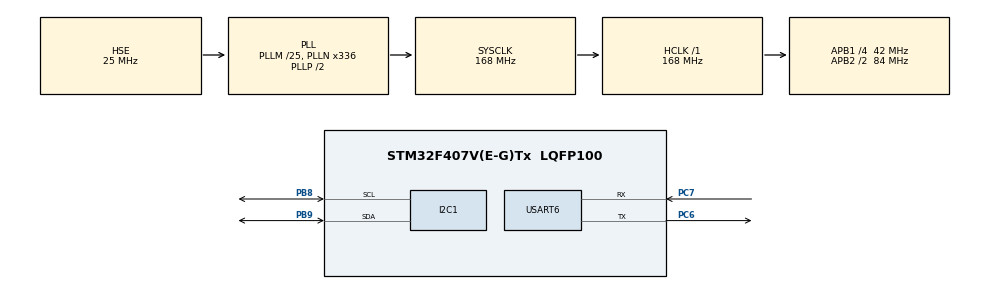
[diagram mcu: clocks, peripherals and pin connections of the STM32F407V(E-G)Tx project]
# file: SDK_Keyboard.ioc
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Mcu.Family=STM32F4
Mcu.Name=STM32F407V(E-G)Tx
Mcu.Package=LQFP100
NVIC.PriorityGroup=NVIC_PRIORITYGROUP_4
PA13.Mode=JTAG_5_pins
PA13.Signal=SYS_JTMS-SWDIO
PA14.Mode=JTAG_5_pins
PA14.Signal=SYS_JTCK-SWCLK
PA15.Mode=JTAG_5_pins
PA15.Signal=SYS_JTDI
PB3.Mode=JTAG_5_pins
PB3.Signal=SYS_JTDO-SWO
PB4.Mode=JTAG_5_pins
PB4.Signal=SYS_JTRST
PB8.GPIO_Pu=GPIO_PULLUP
PB8.Mode=I2C
PB8.Signal=I2C1_SCL
PB9.GPIO_Pu=GPIO_PULLUP
PB9.Mode=I2C
PB9.Signal=I2C1_SDA
PC6.Mode=Asynchronous
PC6.Signal=USART6_TX
PC7.Mode=Asynchronous
PC7.Signal=USART6_RX
PH0-OSC_IN.Mode=HSE-External-Oscillator
PH0-OSC_IN.Signal=RCC_OSC_IN
PH1-OSC_OUT.Mode=HSE-External-Oscillator
PH1-OSC_OUT.Signal=RCC_OSC_OUT
ProjectManager.HeapSize=0x200
ProjectManager.StackSize=0x400
ProjectManager.TargetToolchain=STM32CubeIDE
RCC.48MHZClocksFreq_Value=84000000
RCC.AHBFreq_Value=168000000
RCC.APB1CLKDivider=RCC_HCLK_DIV4
RCC.APB1Freq_Value=42000000
RCC.APB1TimFreq_Value=84000000
RCC.APB2CLKDivider=RCC_HCLK_DIV2
RCC.APB2Freq_Value=84000000
RCC.APB2TimFreq_Value=168000000
RCC.CortexFreq_Value=168000000
RCC.HCLKFreq_Value=168000000
RCC.HSE_VALUE=25000000
RCC.HSI_VALUE=16000000
RCC.LSE_VALUE=32768
RCC.PLLM=25
RCC.PLLN=336
RCC.PLLSourceVirtual=RCC_PLLSOURCE_HSE
RCC.SYSCLKFreq_VALUE=168000000
RCC.SYSCLKSource=RCC_SYSCLKSOURCE_PLLCLK
RCC.VCOOutputFreq_Value=336000000
USART6.VirtualMode=VM_ASYNC
board=custom

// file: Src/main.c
/* USER CODE BEGIN Header */
/**
  ******************************************************************************
  * @file           : main.c
  * @brief          : Main program body
  ******************************************************************************
  * @attention
  *
  * <h2><center>&copy; Copyright (c) 2019 STMicroelectronics.
  * All rights reserved.</center></h2>
  *
  * This software component is licensed by ST under BSD 3-Clause license,
  * the "License"; You may not use this file except in compliance with the
  * License. You may obtain a copy of the License at:
  *                        opensource.org/licenses/BSD-3-Clause
  *
  ******************************************************************************
  */
/* USER CODE END Header */

#include "main.h"
#include "i2c.h"
#include "usart.h"
#include "gpio.h"

/* USER CODE BEGIN Includes */
#include "kb.h"
#include "sdk_uart.h"
#include "pca9538.h"
#include "oled.h"
#include "fonts.h"
/* USER CODE END Includes */

/* USER CODE BEGIN PV */
uint32_t num1 = 0;
uint32_t num2 = 0;
int64_t result = 0;
uint8_t operation = 0;
uint8_t step = 0;

char num1_buf[11];  // 10 цифр максимум + '\0'
char num2_buf[11];
char result_buf[21];
/* USER CODE END PV */

void SystemClock_Config(void);
/* USER CODE BEGIN PFP */
void KB_Test( void );
void OLED_KB( uint8_t OLED_Keys[]);
void oled_Reset( void );
/* USER CODE END PFP */

int main(void)
{

  /* MCU Configuration--------------------------------------------------------*/

  /* Reset of all peripherals, Initializes the Flash interface and the Systick. */
  HAL_Init();

  /* Configure the system clock */
  SystemClock_Config();

  /* Initialize all configured peripherals */
  MX_GPIO_Init();
  MX_I2C1_Init();
  MX_USART6_UART_Init();
  /* USER CODE BEGIN 2 */
  oled_Init();

  /* USER CODE END 2 */

  /* Infinite loop */
  while (1)
  {

    /* USER CODE BEGIN 3 */
	  KB_Test();
//	  HAL_Delay(500);

  }
  /* USER CODE END 3 */
}

void SystemClock_Config(void)
{
  RCC_OscInitTypeDef RCC_OscInitStruct = {0};
  RCC_ClkInitTypeDef RCC_ClkInitStruct = {0};

  /** Configure the main internal regulator output voltage
  */
  __HAL_RCC_PWR_CLK_ENABLE();
  __HAL_PWR_VOLTAGESCALING_CONFIG(PWR_REGULATOR_VOLTAGE_SCALE1);
  /** Initializes the CPU, AHB and APB busses clocks
  */
  RCC_OscInitStruct.OscillatorType = RCC_OSCILLATORTYPE_HSE;
  RCC_OscInitStruct.HSEState = RCC_HSE_ON;
  RCC_OscInitStruct.PLL.PLLState = RCC_PLL_ON;
  RCC_OscInitStruct.PLL.PLLSource = RCC_PLLSOURCE_HSE;
  RCC_OscInitStruct.PLL.PLLM = 25;
  RCC_OscInitStruct.PLL.PLLN = 336;
  RCC_OscInitStruct.PLL.PLLP = RCC_PLLP_DIV2;
  RCC_OscInitStruct.PLL.PLLQ = 4;
  if (HAL_RCC_OscConfig(&RCC_OscInitStruct) != HAL_OK)
  {
    Error_Handler();
  }
  /** Initializes the CPU, AHB and APB busses clocks
  */
  RCC_ClkInitStruct.ClockType = RCC_CLOCKTYPE_HCLK|RCC_CLOCKTYPE_SYSCLK
                              |RCC_CLOCKTYPE_PCLK1|RCC_CLOCKTYPE_PCLK2;
  RCC_ClkInitStruct.SYSCLKSource = RCC_SYSCLKSOURCE_PLLCLK;
  RCC_ClkInitStruct.AHBCLKDivider = RCC_SYSCLK_DIV1;
  RCC_ClkInitStruct.APB1CLKDivider = RCC_HCLK_DIV4;
  RCC_ClkInitStruct.APB2CLKDivider = RCC_HCLK_DIV2;

  if (HAL_RCC_ClockConfig(&RCC_ClkInitStruct, FLASH_LATENCY_5) != HAL_OK)
  {
    Error_Handler();
  }
}

/* USER CODE BEGIN 4 */

static void u32_to_str(uint32_t v, char *buf) {
    char tmp[10];
    int i = 0;
    if (v == 0) { buf[0]='0'; buf[1]='\0'; return; }
    while (v) { tmp[i++] = '0' + (v % 10); v /= 10; }
    int j = 0;
    while (i) buf[j++] = tmp[--i];
    buf[j] = '\0';
}

static void i64_to_str(int64_t v, char *buf) {
    char tmp[20];
    int i = 0;
    int neg = (v < 0);
    uint64_t u = neg ? -(uint64_t)v : (uint64_t)v;
    if (u == 0) { buf[0]='0'; buf[1]='\0'; return; }
    while (u) { tmp[i++] = '0' + (u % 10); u /= 10; }
    int j = 0;
    if (neg) buf[j++] = '-';
    while (i) buf[j++] = tmp[--i];
    buf[j] = '\0';
}

void KB_Test( void ) {
//	UART_Transmit( (uint8_t*)"KB test start\n" );
	uint8_t flag = 0, Row[4] = {ROW4, ROW3, ROW2, ROW1}, Key, OldKey, OLED_Keys[12] = {0x30,0x30,0x30,0x30,0x30,0x30,0x30,0x30,0x30,0x30,0x30,0x30};
	oled_Reset();
	oled_SetCursor(0, 0);

	u32_to_str(num1, num1_buf);
	u32_to_str(num2, num2_buf);
	i64_to_str(result, result_buf);

	oled_WriteString(num1_buf, Font_7x10, White);
	oled_SetCursor(0, 10);
	switch (operation) {
	    case 0: oled_WriteString("+", Font_7x10, White); break;
	    case 1: oled_WriteString("-", Font_7x10, White); break;
	    case 2: oled_WriteString("*", Font_7x10, White); break;
	}
	oled_SetCursor(0, 20);
	oled_WriteString(num2_buf, Font_7x10, White);
	oled_SetCursor(0, 30);
	oled_WriteString(result_buf, Font_7x10, White);
	oled_UpdateScreen();
	while (flag == 0) {
	for ( int i = 0; i < 4; i++ ) {
//		while( !( R && C && L ) ) {
//			OldKey = Key;
//			Key = Check_Row( Row[i] );
//			if ( Key == 0x01 && Key != OldKey) {
//				UART_Transmit( (uint8_t*)"Right pressed\n" );
//				R = 1;
//				OLED_Keys[2+3*i] = 0x31;
//				OLED_KB(OLED_Keys);
//			} else if ( Key == 0x02 && Key != OldKey) {
//				UART_Transmit( (uint8_t*)"Center pressed\n" );
//				C = 1;
//				OLED_Keys[1+3*i] = 0x31;
//				OLED_KB(OLED_Keys);
//			} else if ( Key == 0x04 && Key != OldKey) {
//				UART_Transmit( (uint8_t*)"Left pressed\n" );
//				L = 1;
//				OLED_Keys[3*i] = 0x31;
//				OLED_KB(OLED_Keys);
//			}
//		}

		OldKey = Key;
		Key = Check_Row( Row[i] );
		if (Key != 0x00 && flag == 0) {
			flag = 1;
		}
		if ( Key == 0x01 && i == 1) {
			UART_Transmit( (uint8_t*)"9 pressed\n" );
			if (step == 0) {
				num1 = (num1 * 10 + 9) % 100000000;
			}
			else if (step == 2) {
				num2 = (num2 * 10 + 9) % 100000000;
			}

		}
		else if ( Key == 0x02 && i == 1) {
			UART_Transmit( (uint8_t*)"8 pressed\n" );
			if (step == 0) {
				num1 = (num1 * 10 + 8) % 100000000;
			}
			else if (step == 2) {
				num2 = (num2 * 10 + 8) % 100000000;
			}
		}
		else if ( Key == 0x04 && i == 1) {
			UART_Transmit( (uint8_t*)"7 pressed\n" );
			if (step == 0) {
				num1 = (num1 * 10 + 7) % 100000000;
			}
			else if (step == 2) {
				num2 = (num2 * 10 + 7) % 100000000;
			}
		}
		else if ( Key == 0x01 && i == 2) {
			UART_Transmit( (uint8_t*)"6 pressed\n" );
			if (step == 0) {
				num1 = (num1 * 10 + 6) % 100000000;
			}
			else if (step == 2) {
				num2 = (num2 * 10 + 6) % 100000000;
			}
		}
		else if ( Key == 0x02 && i == 2) {
			UART_Transmit( (uint8_t*)"5 pressed\n" );
			if (step == 0) {
				num1 = (num1 * 10 + 5) % 100000000;
			}
			else if (step == 2) {
				num2 = (num2 * 10 + 5) % 100000000;
			}
		}
		else if ( Key == 0x04 && i == 2) {
			UART_Transmit( (uint8_t*)"4 pressed\n" );
			if (step == 0) {
				num1 = (num1 * 10 + 4) % 100000000;
			}
			else if (step == 2) {
				num2 = (num2 * 10 + 4) % 100000000;
			}
		}
		else if ( Key == 0x01 && i == 3) {
			UART_Transmit( (uint8_t*)"3 pressed\n" );
			if (step == 0) {
				num1 = (num1 * 10 + 3) % 100000000;
			}
			else if (step == 2) {
				num2 = (num2 * 10 + 3) % 100000000;
			}
		}
		else if ( Key == 0x02 && i == 3) {
			UART_Transmit( (uint8_t*)"2 pressed\n" );
			if (step == 0) {
				num1 = (num1 * 10 + 2) % 100000000;
			}
			else if (step == 2) {
				num2 = (num2 * 10 + 2) % 100000000;
			}
		}
		else if ( Key == 0x04 && i == 3) {
			UART_Transmit( (uint8_t*)"1 pressed\n" );
			if (step == 0) {
				num1 = (num1 * 10 + 1) % 100000000;
			}
			else if (step == 2) {
				num2 = (num2 * 10 + 1) % 100000000;
			}
		}
		else if ( Key == 0x02 && i == 0) {
			UART_Transmit( (uint8_t*)"0 pressed\n" );
			if (step == 0) {
				num1 = (num1 * 10 + 0) % 100000000;;
			}
			else if (step == 2) {
				num2 = (num2 * 10 + 0) % 100000000;
			}
		}
		else if ( Key == 0x01 && i == 0) {
			UART_Transmit( (uint8_t*)"Enter pressed\n" );
			if (step == 0) {
				step = 1;
			}
			else if (step == 1) {
				step = 2;
			}
			else if (step == 2) {
				step = 3;
				if (operation == 0) {
					result = (int64_t)num1 + (int64_t)num2;
					UART_Transmit( (uint8_t*)"Result + passed\n" );
				}
				else if (operation == 1) {
					result = (int64_t)num1 - (int64_t)num2;
					UART_Transmit( (uint8_t*)"Result - passed\n" );
				}
				else if (operation == 2) {
					result = (int64_t)num1 * (int64_t)num2;
					UART_Transmit( (uint8_t*)"Result * passed\n" );
				}
			}
			else if (step == 3) {
				num1 = 0;
				num2 = 0;
				result = 0;
				step = 0;
			}
		}
		else if ( Key == 0x04 && i == 0) {
			UART_Transmit( (uint8_t*)"Operation pressed\n" );
			if (step == 0) {
				num1 = num1 / 10;
			}
			else if (step == 1) {
				operation += 1;
				if (operation == 3) {
					operation = 0;
				}
			}
			else if (step == 2) {
				num2 = num2 / 10;
			}
		}
//		UART_Transmit( (uint8_t*)"Row complete\n" );
//		R = C = L = 0;
//		HAL_Delay(25);
	}
	}
	flag = 0;
	Key = 0x00;
	HAL_Delay(150);
//	UART_Transmit( (uint8_t*)"KB test complete\n");
}
void OLED_KB( uint8_t OLED_Keys[12]) {
	for (int i = 3; i >= 0; i--) {
		oled_SetCursor(56, 5+(4-i)*10);
		for (int j = 0; j < 3; j++) {
			oled_WriteChar(OLED_Keys[j+3*i], Font_7x10, White);
		}
	}
	oled_UpdateScreen();
}
void oled_Reset( void ) {
	oled_Fill(Black);
	oled_SetCursor(0, 0);
	oled_UpdateScreen();
}
/* USER CODE END 4 */

void Error_Handler(void)
{
}

/************************ (C) COPYRIGHT STMicroelectronics *****END OF FILE****/
